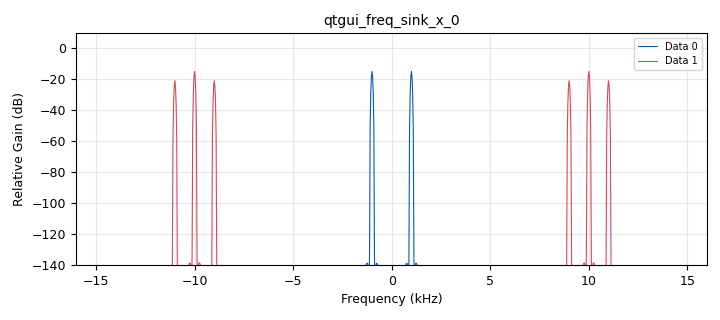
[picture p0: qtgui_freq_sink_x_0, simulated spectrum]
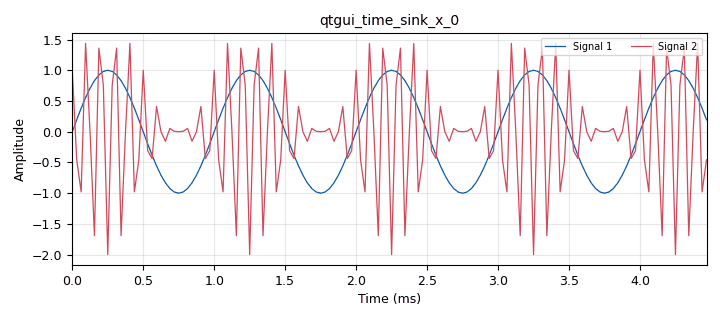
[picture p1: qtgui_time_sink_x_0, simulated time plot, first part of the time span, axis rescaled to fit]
options:
  parameters:
    author: mateo
    generate_options: qt_gui
    id: TP13
    output_language: python
    title: Not titled yet
  states: {}

blocks:
- name: Fc
  id: variable_qtgui_range
  parameters:
    start: 5e3
    step: '100'
    stop: samp_rate/2
    value: 10e3
  states: {}
- name: Fm
  id: variable_qtgui_range
  parameters:
    start: '500'
    step: '10'
    stop: '1000'
    value: '1000'
  states: {}
- name: m
  id: variable_qtgui_range
  parameters:
    start: '0'
    step: '0.1'
    stop: '1'
    value: '1'
  states: {}
- name: samp_rate
  id: variable
  parameters:
    value: '32000'
  states: {}
- name: analog_const_source_x_0
  id: analog_const_source_x
  parameters:
    const: '1'
    type: float
  states: {}
- name: analog_const_source_x_0_0
  id: analog_const_source_x
  parameters:
    const: m
    type: float
  states: {}
- name: analog_sig_source_x_0
  id: analog_sig_source_x
  parameters:
    alias: Mensaje
    amp: '1'
    freq: Fm
    offset: '0'
    phase: '0'
    samp_rate: samp_rate
    type: float
    waveform: analog.GR_SIN_WAVE
  states: {}
- name: analog_sig_source_x_0_0
  id: analog_sig_source_x
  parameters:
    alias: Portadora
    amp: 1/m
    freq: Fc
    offset: '0'
    phase: '0'
    samp_rate: samp_rate
    type: float
    waveform: analog.GR_COS_WAVE
  states: {}
- name: blocks_add_xx_0
  id: blocks_add_xx
  parameters:
    type: float
  states: {}
- name: blocks_file_sink_0
  id: blocks_file_sink
  parameters:
    file: /home/mateo/Desktop/Link to UCA/Radiodifusion/Ejercicios/TP1GNU/TP1-3.bin
    type: float
  states: {state: disabled}
- name: blocks_multiply_xx_0
  id: blocks_multiply_xx
  parameters:
    type: float
  states: {}
- name: blocks_multiply_xx_0_0
  id: blocks_multiply_xx
  parameters:
    type: float
  states: {}
- name: qtgui_freq_sink_x_0
  id: qtgui_freq_sink_x
  parameters:
    bw: samp_rate
    fc: '0'
    fftsize: '1024'
    nconnections: '2'
    type: float
  states: {}
- name: qtgui_time_sink_x_0
  id: qtgui_time_sink_x
  parameters:
    nconnections: '2'
    size: '1024'
    srate: samp_rate
    type: float
  states: {}

connections:
- [analog_const_source_x_0, '0', blocks_add_xx_0, '1']
- [analog_const_source_x_0_0, '0', blocks_multiply_xx_0, '1']
- [analog_sig_source_x_0, '0', blocks_multiply_xx_0, '0']
- [analog_sig_source_x_0, '0', qtgui_freq_sink_x_0, '0']
- [analog_sig_source_x_0, '0', qtgui_time_sink_x_0, '0']
- [analog_sig_source_x_0_0, '0', blocks_multiply_xx_0_0, '1']
- [blocks_add_xx_0, '0', blocks_multiply_xx_0_0, '0']
- [blocks_multiply_xx_0, '0', blocks_add_xx_0, '0']
- [blocks_multiply_xx_0_0, '0', blocks_file_sink_0, '0']
- [blocks_multiply_xx_0_0, '0', qtgui_freq_sink_x_0, '1']
- [blocks_multiply_xx_0_0, '0', qtgui_time_sink_x_0, '1']

metadata:
  file_format: 1
  grc_version: 3.10.5.1
